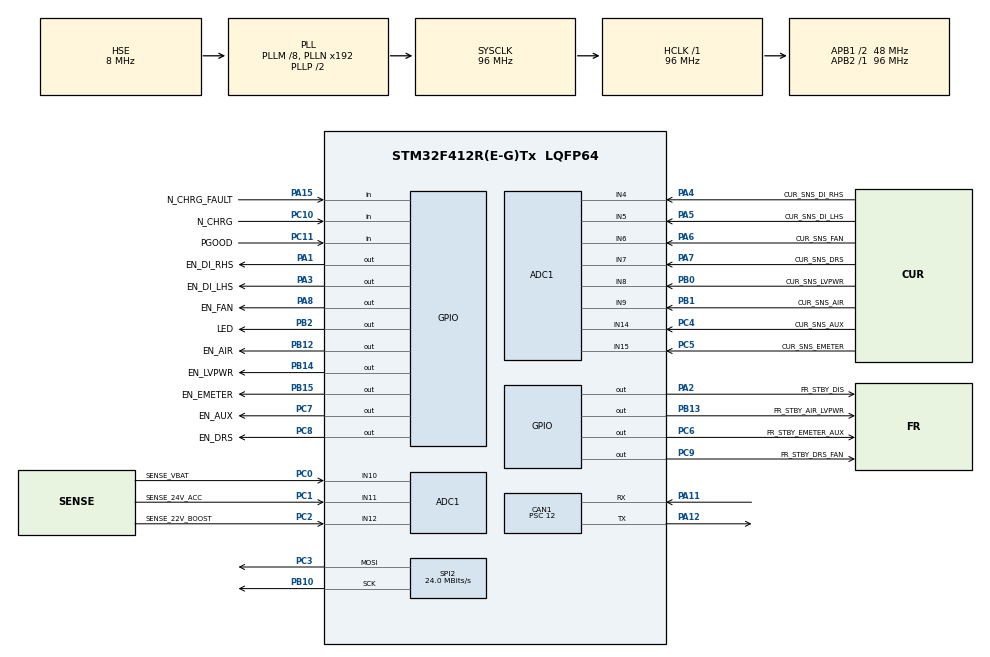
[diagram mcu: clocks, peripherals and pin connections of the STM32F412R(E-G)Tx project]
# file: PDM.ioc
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ADC1.Channel-0\#ChannelRegularConversion=ADC_CHANNEL_4
ADC1.Channel-1\#ChannelRegularConversion=ADC_CHANNEL_5
ADC1.Channel-10\#ChannelRegularConversion=ADC_CHANNEL_15
ADC1.Channel-2\#ChannelRegularConversion=ADC_CHANNEL_6
ADC1.Channel-3\#ChannelRegularConversion=ADC_CHANNEL_7
ADC1.Channel-4\#ChannelRegularConversion=ADC_CHANNEL_8
ADC1.Channel-5\#ChannelRegularConversion=ADC_CHANNEL_9
ADC1.Channel-6\#ChannelRegularConversion=ADC_CHANNEL_10
ADC1.Channel-7\#ChannelRegularConversion=ADC_CHANNEL_11
ADC1.Channel-8\#ChannelRegularConversion=ADC_CHANNEL_12
ADC1.Channel-9\#ChannelRegularConversion=ADC_CHANNEL_14
ADC1.DMAContinuousRequests=ENABLE
ADC1.ExternalTrigConv=ADC_EXTERNALTRIGCONV_T3_TRGO
ADC1.NbrOfConversion=11
ADC1.NbrOfConversionFlag=1
ADC1.Rank-0\#ChannelRegularConversion=1
ADC1.Rank-1\#ChannelRegularConversion=2
ADC1.Rank-10\#ChannelRegularConversion=11
ADC1.Rank-2\#ChannelRegularConversion=3
ADC1.Rank-3\#ChannelRegularConversion=4
ADC1.Rank-4\#ChannelRegularConversion=5
ADC1.Rank-5\#ChannelRegularConversion=6
ADC1.Rank-6\#ChannelRegularConversion=7
ADC1.Rank-7\#ChannelRegularConversion=8
ADC1.Rank-8\#ChannelRegularConversion=9
ADC1.Rank-9\#ChannelRegularConversion=10
ADC1.SamplingTime-0\#ChannelRegularConversion=ADC_SAMPLETIME_3CYCLES
ADC1.SamplingTime-1\#ChannelRegularConversion=ADC_SAMPLETIME_3CYCLES
ADC1.SamplingTime-10\#ChannelRegularConversion=ADC_SAMPLETIME_3CYCLES
ADC1.SamplingTime-2\#ChannelRegularConversion=ADC_SAMPLETIME_3CYCLES
ADC1.SamplingTime-3\#ChannelRegularConversion=ADC_SAMPLETIME_3CYCLES
ADC1.SamplingTime-4\#ChannelRegularConversion=ADC_SAMPLETIME_3CYCLES
ADC1.SamplingTime-5\#ChannelRegularConversion=ADC_SAMPLETIME_3CYCLES
ADC1.SamplingTime-6\#ChannelRegularConversion=ADC_SAMPLETIME_3CYCLES
ADC1.SamplingTime-7\#ChannelRegularConversion=ADC_SAMPLETIME_3CYCLES
ADC1.SamplingTime-8\#ChannelRegularConversion=ADC_SAMPLETIME_3CYCLES
ADC1.SamplingTime-9\#ChannelRegularConversion=ADC_SAMPLETIME_3CYCLES
ADC1.ScanConvMode=ENABLE
ADC1.master=1
CAN1.ABOM=ENABLE
CAN1.BS1=CAN_BS1_6TQ
CAN1.CalculateTimeQuantum=250.0
CAN1.NART=ENABLE
CAN1.Prescaler=12
CAN1.RFLM=ENABLE
CAN1.SJW=CAN_SJW_4TQ
CAN1.TXFP=ENABLE
Dma.ADC1.0.Direction=DMA_PERIPH_TO_MEMORY
Dma.ADC1.0.FIFOMode=DMA_FIFOMODE_DISABLE
Dma.ADC1.0.Instance=DMA2_Stream0
Dma.ADC1.0.MemDataAlignment=DMA_MDATAALIGN_HALFWORD
Dma.ADC1.0.MemInc=DMA_MINC_ENABLE
Dma.ADC1.0.Mode=DMA_CIRCULAR
Dma.ADC1.0.PeriphDataAlignment=DMA_PDATAALIGN_HALFWORD
Dma.ADC1.0.PeriphInc=DMA_PINC_DISABLE
Dma.ADC1.0.Priority=DMA_PRIORITY_LOW
Dma.Request0=ADC1
FREERTOS.INCLUDE_vTaskDelayUntil=1
FREERTOS.MEMORY_ALLOCATION=1
FREERTOS.Tasks01=Task100Hz,-1,512,RunTask100Hz,Default,NULL,Static,Task100HzBuffer,Task100HzControlBlock;TaskCanRx,-3,512,RunTaskCanRx,Default,NULL,Static,TaskCanRxBuffer,TaskCanRxControlBlock;TaskCanTx,-3,512,RunTaskCanTx,Default,NULL,Static,TaskCanTxBuffer,TaskCanTxControlBlock;Task1kHz,0,512,RunTask1kHz,Default,NULL,Static,Task1kHzBuffer,Task1kHzControlBlock;Task1Hz,-2,512,RunTask1Hz,Default,NULL,Static,Task1HzBuffer,Task1HzControlBlock
FREERTOS.configCHECK_FOR_STACK_OVERFLOW=2
FREERTOS.configUSE_TICK_HOOK=1
FREERTOS.configUSE_TRACE_FACILITY=1
IWDG.Reload=LSI_FREQUENCY /  IWDG_PRESCALER / IWDG_RESET_FREQUENCY
Mcu.Family=STM32F4
Mcu.Name=STM32F412R(E-G)Tx
Mcu.Package=LQFP64
Mcu.UserConstants=LSI_FREQUENCY,32000;IWDG_PRESCALER,4;IWDG_RESET_FREQUENCY,5;TIMx_FREQUENCY,96000000;TIM3_PRESCALER,96;ADC_FREQUENCY,1000
NVIC.DMA2_Stream0_IRQn=true\:5\:0\:false\:false\:true\:true\:false\:true
NVIC.PriorityGroup=NVIC_PRIORITYGROUP_4
NVIC.TIM6_IRQn=true\:0\:0\:false\:false\:true\:false\:false\:true
NVIC.TimeBase=TIM6_IRQn
NVIC.TimeBaseIP=TIM6
PA1.GPIO_Label=EN_DI_RHS
PA1.Signal=GPIO_Output
PA11.Mode=Master
PA11.Signal=CAN1_RX
PA12.Mode=Master
PA12.Signal=CAN1_TX
PA13.Mode=Trace_Asynchronous_SW
PA13.Signal=SYS_JTMS-SWDIO
PA14.Mode=Trace_Asynchronous_SW
PA14.Signal=SYS_JTCK-SWCLK
PA15.GPIO_Label=N_CHRG_FAULT
PA15.Signal=GPIO_Input
PA2.GPIO_Label=FR_STBY_DIS
PA2.Signal=GPIO_Output
PA3.GPIO_Label=EN_DI_LHS
PA3.Signal=GPIO_Output
PA4.GPIO_Label=CUR_SNS_DI_RHS
PA4.Signal=ADCx_IN4
PA5.GPIO_Label=CUR_SNS_DI_LHS
PA5.Signal=ADCx_IN5
PA6.GPIO_Label=CUR_SNS_FAN
PA6.Signal=ADCx_IN6
PA7.GPIO_Label=CUR_SNS_DRS
PA7.Signal=ADCx_IN7
PA8.GPIO_Label=EN_FAN
PA8.Signal=GPIO_Output
PB0.GPIO_Label=CUR_SNS_LVPWR
PB0.Signal=ADCx_IN8
PB1.GPIO_Label=CUR_SNS_AIR
PB1.Signal=ADCx_IN9
PB10.Mode=TX_Only_Simplex_Unidirect_Master
PB10.Signal=SPI2_SCK
PB12.GPIO_Label=EN_AIR
PB12.Signal=GPIO_Output
PB13.GPIO_Label=FR_STBY_AIR_LVPWR
PB13.Signal=GPIO_Output
PB14.GPIO_Label=EN_LVPWR
PB14.Signal=GPIO_Output
PB15.GPIO_Label=EN_EMETER
PB15.Signal=GPIO_Output
PB2.GPIO_Label=LED
PB2.Signal=GPIO_Output
PB3.Mode=Trace_Asynchronous_SW
PB3.Signal=SYS_JTDO-SWO
PC0.GPIO_Label=SENSE_VBAT
PC0.Signal=ADCx_IN10
PC1.GPIO_Label=SENSE_24V_ACC
PC1.Signal=ADCx_IN11
PC10.GPIO_Label=N_CHRG
PC10.Signal=GPIO_Input
PC11.GPIO_Label=PGOOD
PC11.Signal=GPIO_Input
PC2.GPIO_Label=SENSE_22V_BOOST
PC2.Signal=ADCx_IN12
PC3.Mode=TX_Only_Simplex_Unidirect_Master
PC3.Signal=SPI2_MOSI
PC4.GPIO_Label=CUR_SNS_AUX
PC4.Signal=ADCx_IN14
PC5.GPIO_Label=CUR_SNS_EMETER
PC5.Signal=ADCx_IN15
PC6.GPIO_Label=FR_STBY_EMETER_AUX
PC6.Signal=GPIO_Output
PC7.GPIO_Label=EN_AUX
PC7.Signal=GPIO_Output
PC8.GPIO_Label=EN_DRS
PC8.Signal=GPIO_Output
PC9.GPIO_Label=FR_STBY_DRS_FAN
PC9.Signal=GPIO_Output
PH0\ -\ OSC_IN.Mode=HSE-External-Oscillator
PH0\ -\ OSC_IN.Signal=RCC_OSC_IN
PH1\ -\ OSC_OUT.Mode=HSE-External-Oscillator
PH1\ -\ OSC_OUT.Signal=RCC_OSC_OUT
ProjectManager.HeapSize=0x00
ProjectManager.StackSize=0x400
ProjectManager.TargetToolchain=SW4STM32
RCC.AHBFreq_Value=96000000
RCC.APB1CLKDivider=RCC_HCLK_DIV2
RCC.APB1Freq_Value=48000000
RCC.APB1TimFreq_Value=96000000
RCC.APB2Freq_Value=96000000
RCC.APB2TimFreq_Value=96000000
RCC.CortexFreq_Value=96000000
RCC.HCLKFreq_Value=96000000
RCC.HSE_VALUE=8000000
RCC.PLLM=8
RCC.PLLSourceVirtual=RCC_PLLSOURCE_HSE
RCC.SYSCLKFreq_VALUE=96000000
RCC.SYSCLKSource=RCC_SYSCLKSOURCE_PLLCLK
RCC.USBFreq_Value=96000000
RCC.VCOOutputFreq_Value=192000000
SH.ADCx_IN10.0=ADC1_IN10,IN10
SH.ADCx_IN11.0=ADC1_IN11,IN11
SH.ADCx_IN12.0=ADC1_IN12,IN12
SH.ADCx_IN14.0=ADC1_IN14,IN14
SH.ADCx_IN15.0=ADC1_IN15,IN15
SH.ADCx_IN4.0=ADC1_IN4,IN4
SH.ADCx_IN5.0=ADC1_IN5,IN5
SH.ADCx_IN6.0=ADC1_IN6,IN6
SH.ADCx_IN7.0=ADC1_IN7,IN7
SH.ADCx_IN8.0=ADC1_IN8,IN8
SH.ADCx_IN9.0=ADC1_IN9,IN9
SPI2.CalculateBaudRate=24.0 MBits/s
SPI2.Direction=SPI_DIRECTION_2LINES
SPI2.Mode=SPI_MODE_MASTER
SPI2.VirtualType=VM_MASTER
TIM3.Period=(TIMx_FREQUENCY / TIM3_PRESCALER / ADC_FREQUENCY) - 1
TIM3.Prescaler=TIM3_PRESCALER - 1 
TIM3.TIM_MasterOutputTrigger=TIM_TRGO_UPDATE
VP_FREERTOS_VS_CMSIS_V1.Mode=CMSIS_V1
VP_IWDG_VS_IWDG.Mode=IWDG_Activate
VP_SYS_VS_tim6.Mode=TIM6
VP_TIM3_VS_ClockSourceINT.Mode=Internal
board=custom

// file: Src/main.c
/* USER CODE BEGIN Header */
/**
 ******************************************************************************
 * @file           : main.c
 * @brief          : Main program body
 ******************************************************************************
 * @attention
 *
 * <h2><center>&copy; Copyright (c) 2020 STMicroelectronics.
 * All rights reserved.</center></h2>
 *
 * This software component is licensed by ST under Ultimate Liberty license
 * SLA0044, the "License"; You may not use this file except in compliance with
 * the License. You may obtain a copy of the License at:
 *                             www.st.com/SLA0044
 *
 ******************************************************************************
 */
/* USER CODE END Header */

#include "main.h"
#include "cmsis_os.h"

/* USER CODE BEGIN Includes */
#include <assert.h>

#include "Io_CanTx.h"
#include "Io_CanRx.h"
#include "Io_SharedSoftwareWatchdog.h"
#include "Io_SharedCan.h"
#include "Io_SharedHardFaultHandler.h"
#include "Io_StackWaterMark.h"
#include "Io_SoftwareWatchdog.h"
#include "Io_VoltageSense.h"
#include "Io_CurrentSense.h"
#include "Io_SharedHeartbeatMonitor.h"
#include "Io_RgbLedSequence.h"
#include "Io_LT3650.h"
#include "Io_LTC3786.h"
#include "Io_Adc.h"
#include "Io_Efuse.h"

#include "App_CanAlerts.h"
#include "App_PdmWorld.h"
#include "App_SharedMacros.h"
#include "App_SharedConstants.h"
#include "App_SharedStateMachine.h"
#include "states/App_InitState.h"
#include "configs/App_CurrentLimits.h"
#include "configs/App_VoltageLimits.h"
#include "configs/App_HeartbeatMonitorConfig.h"
/* USER CODE END Includes */

ADC_HandleTypeDef hadc1;
DMA_HandleTypeDef hdma_adc1;

CAN_HandleTypeDef hcan1;

IWDG_HandleTypeDef hiwdg;

SPI_HandleTypeDef hspi2;

TIM_HandleTypeDef htim3;

osThreadId          Task100HzHandle;
uint32_t            Task100HzBuffer[512];
osStaticThreadDef_t Task100HzControlBlock;
osThreadId          TaskCanRxHandle;
uint32_t            TaskCanRxBuffer[512];
osStaticThreadDef_t TaskCanRxControlBlock;
osThreadId          TaskCanTxHandle;
uint32_t            TaskCanTxBuffer[512];
osStaticThreadDef_t TaskCanTxControlBlock;
osThreadId          Task1kHzHandle;
uint32_t            Task1kHzBuffer[512];
osStaticThreadDef_t Task1kHzControlBlock;
osThreadId          Task1HzHandle;
uint32_t            Task1HzBuffer[512];
osStaticThreadDef_t Task1HzControlBlock;
/* USER CODE BEGIN PV */
struct PdmWorld *         world;
struct StateMachine *     state_machine;
struct InRangeCheck *     vbat_voltage_in_range_check;
struct InRangeCheck *     _24v_aux_voltage_in_range_check;
struct InRangeCheck *     _24v_acc_voltage_in_range_check;
struct InRangeCheck *     aux1_current_in_range_check;
struct InRangeCheck *     aux2_current_in_range_check;
struct InRangeCheck *     left_inverter_current_in_range_check;
struct InRangeCheck *     right_inverter_current_in_range_check;
struct InRangeCheck *     energy_meter_current_in_range_check;
struct InRangeCheck *     can_current_in_range_check;
struct InRangeCheck *     air_shutdown_current_in_range_check;
struct HeartbeatMonitor * heartbeat_monitor;
struct RgbLedSequence *   rgb_led_sequence;
struct LowVoltageBattery *low_voltage_battery;
struct Clock *            clock;
/* USER CODE END PV */

void        SystemClock_Config(void);
static void MX_GPIO_Init(void);
static void MX_DMA_Init(void);
static void MX_ADC1_Init(void);
static void MX_CAN1_Init(void);
static void MX_IWDG_Init(void);
static void MX_SPI2_Init(void);
static void MX_TIM3_Init(void);
void        RunTask100Hz(void const *argument);
void        RunTaskCanRx(void const *argument);
void        RunTaskCanTx(void const *argument);
void        RunTask1kHz(void const *argument);
void        RunTask1Hz(void const *argument);

/* USER CODE BEGIN PFP */

static void CanRxQueueOverflowCallBack(size_t overflow_count);
static void CanTxQueueOverflowCallBack(size_t overflow_count);

/* USER CODE END PFP */

/* USER CODE BEGIN 0 */

static void CanRxQueueOverflowCallBack(size_t overflow_count)
{
    App_CanTx_PDM_Warnings_RxOverflowCount_Set(overflow_count);
}

static void CanTxQueueOverflowCallBack(size_t overflow_count)
{
    App_CanTx_PDM_Warnings_TxOverflowCount_Set(overflow_count);
}

/* USER CODE END 0 */

int main(void)
{

    /* MCU Configuration--------------------------------------------------------*/

    /* Reset of all peripherals, Initializes the Flash interface and the Systick. */
    HAL_Init();

    /* Configure the system clock */
    SystemClock_Config();

    /* USER CODE BEGIN SysInit */
    HAL_Delay(500U);
    /* USER CODE END SysInit */

    /* Initialize all configured peripherals */
    MX_GPIO_Init();
    MX_DMA_Init();
    MX_ADC1_Init();
    MX_CAN1_Init();
    MX_IWDG_Init();
    MX_SPI2_Init();
    MX_TIM3_Init();
    /* USER CODE BEGIN 2 */
    __HAL_DBGMCU_FREEZE_IWDG();

    HAL_ADC_Start_DMA(&hadc1, (uint32_t *)Io_Adc_GetRawAdcValues(), hadc1.Init.NbrOfConversion);
    HAL_TIM_Base_Start(&htim3);

    Io_SharedHardFaultHandler_Init();
    Io_SharedSoftwareWatchdog_Init(Io_HardwareWatchdog_Refresh, Io_SoftwareWatchdog_TimeoutCallback);
    Io_SharedCan_Init(&hcan1, CanTxQueueOverflowCallBack, CanRxQueueOverflowCallBack);

    App_CanTx_Init();
    App_CanRx_Init();
    App_CanAlerts_Init(Io_CanTx_PDM_Alerts_SendAperiodic);

    vbat_voltage_in_range_check =
        App_InRangeCheck_Create(Io_VoltageSense_GetVbatVoltage, VBAT_MIN_VOLTAGE, VBAT_MAX_VOLTAGE);

    _24v_aux_voltage_in_range_check =
        App_InRangeCheck_Create(Io_VoltageSense_Get24vAuxVoltage, _24V_AUX_MIN_VOLTAGE, _24V_AUX_MAX_VOLTAGE);

    _24v_acc_voltage_in_range_check =
        App_InRangeCheck_Create(Io_VoltageSense_Get24vAccVoltage, _24V_ACC_MIN_VOLTAGE, _24V_ACC_MAX_VOLTAGE);

    aux1_current_in_range_check =
        App_InRangeCheck_Create(Io_CurrentSense_GetAux1Current, AUX1_MIN_CURRENT, AUX1_MAX_CURRENT);

    aux2_current_in_range_check =
        App_InRangeCheck_Create(Io_CurrentSense_GetAux1Current, AUX2_MIN_CURRENT, AUX2_MAX_CURRENT);

    left_inverter_current_in_range_check = App_InRangeCheck_Create(
        Io_CurrentSense_GetLeftInverterCurrent, LEFT_INVERTER_MIN_CURRENT, LEFT_INVERTER_MAX_CURRENT);

    right_inverter_current_in_range_check = App_InRangeCheck_Create(
        Io_CurrentSense_GetRightInverterCurrent, RIGHT_INVERTER_MIN_CURRENT, RIGHT_INVERTER_MAX_CURRENT);

    energy_meter_current_in_range_check = App_InRangeCheck_Create(
        Io_CurrentSense_GetEnergyMeterCurrent, ENERGY_METER_MIN_CURRENT, ENERGY_METER_MAX_CURRENT);

    can_current_in_range_check =
        App_InRangeCheck_Create(Io_CurrentSense_GetCanCurrent, CAN_MIN_CURRENT, CAN_MAX_CURRENT);

    air_shutdown_current_in_range_check = App_InRangeCheck_Create(
        Io_CurrentSense_GetAirShutdownCurrent, AIR_SHUTDOWN_MIN_CURRENT, AIR_SHUTDOWN_MAX_CURRENT);

    heartbeat_monitor = App_SharedHeartbeatMonitor_Create(
        Io_SharedHeartbeatMonitor_GetCurrentMs, HEARTBEAT_MONITOR_TIMEOUT_PERIOD_MS, HEARTBEAT_MONITOR_BOARDS_TO_CHECK);

    rgb_led_sequence = App_SharedRgbLedSequence_Create(
        Io_RgbLedSequence_TurnOnRedLed, Io_RgbLedSequence_TurnOnBlueLed, Io_RgbLedSequence_TurnOnGreenLed);

    low_voltage_battery = App_LowVoltageBattery_Create(Io_LT3650_HasFault, Io_LTC3786_HasFault);

    clock = App_SharedClock_Create();

    world = App_PdmWorld_Create(
        vbat_voltage_in_range_check, _24v_aux_voltage_in_range_check, _24v_acc_voltage_in_range_check,
        aux1_current_in_range_check, aux2_current_in_range_check, left_inverter_current_in_range_check,
        right_inverter_current_in_range_check, energy_meter_current_in_range_check, can_current_in_range_check,
        air_shutdown_current_in_range_check, heartbeat_monitor, rgb_led_sequence, low_voltage_battery, clock);

    state_machine = App_SharedStateMachine_Create(world, App_GetInitState());

    App_CanAlerts_SetAlert(PDM_ALERT_STARTUP, true);

    /* USER CODE END 2 */

    /* Create the thread(s) */
    /* definition and creation of Task100Hz */
    osThreadStaticDef(Task100Hz, RunTask100Hz, osPriorityBelowNormal, 0, 512, Task100HzBuffer, &Task100HzControlBlock);
    Task100HzHandle = osThreadCreate(osThread(Task100Hz), NULL);

    /* definition and creation of TaskCanRx */
    osThreadStaticDef(TaskCanRx, RunTaskCanRx, osPriorityIdle, 0, 512, TaskCanRxBuffer, &TaskCanRxControlBlock);
    TaskCanRxHandle = osThreadCreate(osThread(TaskCanRx), NULL);

    /* definition and creation of TaskCanTx */
    osThreadStaticDef(TaskCanTx, RunTaskCanTx, osPriorityIdle, 0, 512, TaskCanTxBuffer, &TaskCanTxControlBlock);
    TaskCanTxHandle = osThreadCreate(osThread(TaskCanTx), NULL);

    /* definition and creation of Task1kHz */
    osThreadStaticDef(Task1kHz, RunTask1kHz, osPriorityNormal, 0, 512, Task1kHzBuffer, &Task1kHzControlBlock);
    Task1kHzHandle = osThreadCreate(osThread(Task1kHz), NULL);

    /* definition and creation of Task1Hz */
    osThreadStaticDef(Task1Hz, RunTask1Hz, osPriorityLow, 0, 512, Task1HzBuffer, &Task1HzControlBlock);
    Task1HzHandle = osThreadCreate(osThread(Task1Hz), NULL);

    /* USER CODE BEGIN RTOS_THREADS */
    /* add threads, ... */
    // According to Percpio documentation, vTraceEnable() should be the last
    // function call before the scheduler starts.
#if (configUSE_TRACE_FACILITY == 1)
    vTraceEnable(TRC_INIT);
#endif
    /* USER CODE END RTOS_THREADS */

    /* Start scheduler */
    osKernelStart();

    /* We should never get here as control is now taken by the scheduler */

    /* Infinite loop */
    while (1)
    {

    }
}

void SystemClock_Config(void)
{
    RCC_OscInitTypeDef RCC_OscInitStruct = { 0 };
    RCC_ClkInitTypeDef RCC_ClkInitStruct = { 0 };

    /** Configure the main internal regulator output voltage
     */
    __HAL_RCC_PWR_CLK_ENABLE();
    __HAL_PWR_VOLTAGESCALING_CONFIG(PWR_REGULATOR_VOLTAGE_SCALE1);
    /** Initializes the CPU, AHB and APB busses clocks
     */
    RCC_OscInitStruct.OscillatorType = RCC_OSCILLATORTYPE_LSI | RCC_OSCILLATORTYPE_HSE;
    RCC_OscInitStruct.HSEState       = RCC_HSE_ON;
    RCC_OscInitStruct.LSIState       = RCC_LSI_ON;
    RCC_OscInitStruct.PLL.PLLState   = RCC_PLL_ON;
    RCC_OscInitStruct.PLL.PLLSource  = RCC_PLLSOURCE_HSE;
    RCC_OscInitStruct.PLL.PLLM       = 8;
    RCC_OscInitStruct.PLL.PLLN       = 192;
    RCC_OscInitStruct.PLL.PLLP       = RCC_PLLP_DIV2;
    RCC_OscInitStruct.PLL.PLLQ       = 2;
    RCC_OscInitStruct.PLL.PLLR       = 2;
    if (HAL_RCC_OscConfig(&RCC_OscInitStruct) != HAL_OK)
    {
        Error_Handler();
    }
    /** Initializes the CPU, AHB and APB busses clocks
     */
    RCC_ClkInitStruct.ClockType = RCC_CLOCKTYPE_HCLK | RCC_CLOCKTYPE_SYSCLK | RCC_CLOCKTYPE_PCLK1 | RCC_CLOCKTYPE_PCLK2;
    RCC_ClkInitStruct.SYSCLKSource   = RCC_SYSCLKSOURCE_PLLCLK;
    RCC_ClkInitStruct.AHBCLKDivider  = RCC_SYSCLK_DIV1;
    RCC_ClkInitStruct.APB1CLKDivider = RCC_HCLK_DIV2;
    RCC_ClkInitStruct.APB2CLKDivider = RCC_HCLK_DIV1;

    if (HAL_RCC_ClockConfig(&RCC_ClkInitStruct, FLASH_LATENCY_3) != HAL_OK)
    {
        Error_Handler();
    }
}

static void MX_ADC1_Init(void)
{

    ADC_ChannelConfTypeDef sConfig = { 0 };

    /** Configure the global features of the ADC (Clock, Resolution, Data Alignment and number of conversion)
     */
    hadc1.Instance                   = ADC1;
    hadc1.Init.ClockPrescaler        = ADC_CLOCK_SYNC_PCLK_DIV4;
    hadc1.Init.Resolution            = ADC_RESOLUTION_12B;
    hadc1.Init.ScanConvMode          = ENABLE;
    hadc1.Init.ContinuousConvMode    = DISABLE;
    hadc1.Init.DiscontinuousConvMode = DISABLE;
    hadc1.Init.ExternalTrigConvEdge  = ADC_EXTERNALTRIGCONVEDGE_RISING;
    hadc1.Init.ExternalTrigConv      = ADC_EXTERNALTRIGCONV_T3_TRGO;
    hadc1.Init.DataAlign             = ADC_DATAALIGN_RIGHT;
    hadc1.Init.NbrOfConversion       = 11;
    hadc1.Init.DMAContinuousRequests = ENABLE;
    hadc1.Init.EOCSelection          = ADC_EOC_SINGLE_CONV;
    if (HAL_ADC_Init(&hadc1) != HAL_OK)
    {
        Error_Handler();
    }
    /** Configure for the selected ADC regular channel its corresponding rank in the sequencer and its sample time.
     */
    sConfig.Channel      = ADC_CHANNEL_4;
    sConfig.Rank         = 1;
    sConfig.SamplingTime = ADC_SAMPLETIME_3CYCLES;
    if (HAL_ADC_ConfigChannel(&hadc1, &sConfig) != HAL_OK)
    {
        Error_Handler();
    }
    /** Configure for the selected ADC regular channel its corresponding rank in the sequencer and its sample time.
     */
    sConfig.Channel = ADC_CHANNEL_5;
    sConfig.Rank    = 2;
    if (HAL_ADC_ConfigChannel(&hadc1, &sConfig) != HAL_OK)
    {
        Error_Handler();
    }
    /** Configure for the selected ADC regular channel its corresponding rank in the sequencer and its sample time.
     */
    sConfig.Channel = ADC_CHANNEL_6;
    sConfig.Rank    = 3;
    if (HAL_ADC_ConfigChannel(&hadc1, &sConfig) != HAL_OK)
    {
        Error_Handler();
    }
    /** Configure for the selected ADC regular channel its corresponding rank in the sequencer and its sample time.
     */
    sConfig.Channel = ADC_CHANNEL_7;
    sConfig.Rank    = 4;
    if (HAL_ADC_ConfigChannel(&hadc1, &sConfig) != HAL_OK)
    {
        Error_Handler();
    }
    /** Configure for the selected ADC regular channel its corresponding rank in the sequencer and its sample time.
     */
    sConfig.Channel = ADC_CHANNEL_8;
    sConfig.Rank    = 5;
    if (HAL_ADC_ConfigChannel(&hadc1, &sConfig) != HAL_OK)
    {
        Error_Handler();
    }
    /** Configure for the selected ADC regular channel its corresponding rank in the sequencer and its sample time.
     */
    sConfig.Channel = ADC_CHANNEL_9;
    sConfig.Rank    = 6;
    if (HAL_ADC_ConfigChannel(&hadc1, &sConfig) != HAL_OK)
    {
        Error_Handler();
    }
    /** Configure for the selected ADC regular channel its corresponding rank in the sequencer and its sample time.
     */
    sConfig.Channel = ADC_CHANNEL_10;
    sConfig.Rank    = 7;
    if (HAL_ADC_ConfigChannel(&hadc1, &sConfig) != HAL_OK)
    {
        Error_Handler();
    }
    /** Configure for the selected ADC regular channel its corresponding rank in the sequencer and its sample time.
     */
    sConfig.Channel = ADC_CHANNEL_11;
    sConfig.Rank    = 8;
    if (HAL_ADC_ConfigChannel(&hadc1, &sConfig) != HAL_OK)
    {
        Error_Handler();
    }
    /** Configure for the selected ADC regular channel its corresponding rank in the sequencer and its sample time.
     */
    sConfig.Channel = ADC_CHANNEL_12;
    sConfig.Rank    = 9;
    if (HAL_ADC_ConfigChannel(&hadc1, &sConfig) != HAL_OK)
    {
        Error_Handler();
    }
    /** Configure for the selected ADC regular channel its corresponding rank in the sequencer and its sample time.
     */
    sConfig.Channel = ADC_CHANNEL_14;
    sConfig.Rank    = 10;
    if (HAL_ADC_ConfigChannel(&hadc1, &sConfig) != HAL_OK)
    {
        Error_Handler();
    }
    /** Configure for the selected ADC regular channel its corresponding rank in the sequencer and its sample time.
     */
    sConfig.Channel = ADC_CHANNEL_15;
    sConfig.Rank    = 11;
    if (HAL_ADC_ConfigChannel(&hadc1, &sConfig) != HAL_OK)
    {
        Error_Handler();
    }
}

static void MX_CAN1_Init(void)
{

    hcan1.Instance                  = CAN1;
    hcan1.Init.Prescaler            = 12;
    hcan1.Init.Mode                 = CAN_MODE_NORMAL;
    hcan1.Init.SyncJumpWidth        = CAN_SJW_4TQ;
    hcan1.Init.TimeSeg1             = CAN_BS1_6TQ;
    hcan1.Init.TimeSeg2             = CAN_BS2_1TQ;
    hcan1.Init.TimeTriggeredMode    = DISABLE;
    hcan1.Init.AutoBusOff           = ENABLE;
    hcan1.Init.AutoWakeUp           = DISABLE;
    hcan1.Init.AutoRetransmission   = ENABLE;
    hcan1.Init.ReceiveFifoLocked    = ENABLE;
    hcan1.Init.TransmitFifoPriority = ENABLE;
    if (HAL_CAN_Init(&hcan1) != HAL_OK)
    {
        Error_Handler();
    }
}

static void MX_IWDG_Init(void)
{

    hiwdg.Instance       = IWDG;
    hiwdg.Init.Prescaler = IWDG_PRESCALER_4;
    hiwdg.Init.Reload    = LSI_FREQUENCY / IWDG_PRESCALER / IWDG_RESET_FREQUENCY;
    if (HAL_IWDG_Init(&hiwdg) != HAL_OK)
    {
        Error_Handler();
    }
}

static void MX_SPI2_Init(void)
{

    /* SPI2 parameter configuration*/
    hspi2.Instance               = SPI2;
    hspi2.Init.Mode              = SPI_MODE_MASTER;
    hspi2.Init.Direction         = SPI_DIRECTION_2LINES;
    hspi2.Init.DataSize          = SPI_DATASIZE_8BIT;
    hspi2.Init.CLKPolarity       = SPI_POLARITY_LOW;
    hspi2.Init.CLKPhase          = SPI_PHASE_1EDGE;
    hspi2.Init.NSS               = SPI_NSS_SOFT;
    hspi2.Init.BaudRatePrescaler = SPI_BAUDRATEPRESCALER_2;
    hspi2.Init.FirstBit          = SPI_FIRSTBIT_MSB;
    hspi2.Init.TIMode            = SPI_TIMODE_DISABLE;
    hspi2.Init.CRCCalculation    = SPI_CRCCALCULATION_DISABLE;
    hspi2.Init.CRCPolynomial     = 10;
    if (HAL_SPI_Init(&hspi2) != HAL_OK)
    {
        Error_Handler();
    }
}

static void MX_TIM3_Init(void)
{

    TIM_ClockConfigTypeDef  sClockSourceConfig = { 0 };
    TIM_MasterConfigTypeDef sMasterConfig      = { 0 };

    htim3.Instance               = TIM3;
    htim3.Init.Prescaler         = TIM3_PRESCALER - 1;
    htim3.Init.CounterMode       = TIM_COUNTERMODE_UP;
    htim3.Init.Period            = (TIMx_FREQUENCY / TIM3_PRESCALER / ADC_FREQUENCY) - 1;
    htim3.Init.ClockDivision     = TIM_CLOCKDIVISION_DIV1;
    htim3.Init.AutoReloadPreload = TIM_AUTORELOAD_PRELOAD_DISABLE;
    if (HAL_TIM_Base_Init(&htim3) != HAL_OK)
    {
        Error_Handler();
    }
    sClockSourceConfig.ClockSource = TIM_CLOCKSOURCE_INTERNAL;
    if (HAL_TIM_ConfigClockSource(&htim3, &sClockSourceConfig) != HAL_OK)
    {
        Error_Handler();
    }
    sMasterConfig.MasterOutputTrigger = TIM_TRGO_UPDATE;
    sMasterConfig.MasterSlaveMode     = TIM_MASTERSLAVEMODE_DISABLE;
    if (HAL_TIMEx_MasterConfigSynchronization(&htim3, &sMasterConfig) != HAL_OK)
    {
        Error_Handler();
    }
}

static void MX_DMA_Init(void)
{
    /* DMA controller clock enable */
    __HAL_RCC_DMA2_CLK_ENABLE();

    /* DMA interrupt init */
    /* DMA2_Stream0_IRQn interrupt configuration */
    HAL_NVIC_SetPriority(DMA2_Stream0_IRQn, 5, 0);
    HAL_NVIC_EnableIRQ(DMA2_Stream0_IRQn);
}

static void MX_GPIO_Init(void)
{
    GPIO_InitTypeDef GPIO_InitStruct = { 0 };

    /* GPIO Ports Clock Enable */
    __HAL_RCC_GPIOH_CLK_ENABLE();
    __HAL_RCC_GPIOC_CLK_ENABLE();
    __HAL_RCC_GPIOA_CLK_ENABLE();
    __HAL_RCC_GPIOB_CLK_ENABLE();

    /*Configure GPIO pin Output Level */
    HAL_GPIO_WritePin(GPIOA, EN_DI_RHS_Pin | FR_STBY_DIS_Pin | EN_DI_LHS_Pin | EN_FAN_Pin, GPIO_PIN_RESET);

    /*Configure GPIO pin Output Level */
    HAL_GPIO_WritePin(
        GPIOB, LED_Pin | EN_AIR_Pin | FR_STBY_AIR_LVPWR_Pin | EN_LVPWR_Pin | EN_EMETER_Pin, GPIO_PIN_RESET);

    /*Configure GPIO pin Output Level */
    HAL_GPIO_WritePin(GPIOC, FR_STBY_EMETER_AUX_Pin | EN_AUX_Pin | EN_DRS_Pin | FR_STBY_DRS_FAN_Pin, GPIO_PIN_RESET);

    /*Configure GPIO pins : EN_DI_RHS_Pin FR_STBY_DIS_Pin EN_DI_LHS_Pin EN_FAN_Pin */
    GPIO_InitStruct.Pin   = EN_DI_RHS_Pin | FR_STBY_DIS_Pin | EN_DI_LHS_Pin | EN_FAN_Pin;
    GPIO_InitStruct.Mode  = GPIO_MODE_OUTPUT_PP;
    GPIO_InitStruct.Pull  = GPIO_NOPULL;
    GPIO_InitStruct.Speed = GPIO_SPEED_FREQ_LOW;
    HAL_GPIO_Init(GPIOA, &GPIO_InitStruct);

    /*Configure GPIO pins : LED_Pin EN_AIR_Pin FR_STBY_AIR_LVPWR_Pin EN_LVPWR_Pin
                             EN_EMETER_Pin */
    GPIO_InitStruct.Pin   = LED_Pin | EN_AIR_Pin | FR_STBY_AIR_LVPWR_Pin | EN_LVPWR_Pin | EN_EMETER_Pin;
    GPIO_InitStruct.Mode  = GPIO_MODE_OUTPUT_PP;
    GPIO_InitStruct.Pull  = GPIO_NOPULL;
    GPIO_InitStruct.Speed = GPIO_SPEED_FREQ_LOW;
    HAL_GPIO_Init(GPIOB, &GPIO_InitStruct);

    /*Configure GPIO pins : FR_STBY_EMETER_AUX_Pin EN_AUX_Pin EN_DRS_Pin FR_STBY_DRS_FAN_Pin */
    GPIO_InitStruct.Pin   = FR_STBY_EMETER_AUX_Pin | EN_AUX_Pin | EN_DRS_Pin | FR_STBY_DRS_FAN_Pin;
    GPIO_InitStruct.Mode  = GPIO_MODE_OUTPUT_PP;
    GPIO_InitStruct.Pull  = GPIO_NOPULL;
    GPIO_InitStruct.Speed = GPIO_SPEED_FREQ_LOW;
    HAL_GPIO_Init(GPIOC, &GPIO_InitStruct);

    /*Configure GPIO pin : N_CHRG_FAULT_Pin */
    GPIO_InitStruct.Pin  = N_CHRG_FAULT_Pin;
    GPIO_InitStruct.Mode = GPIO_MODE_INPUT;
    GPIO_InitStruct.Pull = GPIO_NOPULL;
    HAL_GPIO_Init(N_CHRG_FAULT_GPIO_Port, &GPIO_InitStruct);

    /*Configure GPIO pins : N_CHRG_Pin PGOOD_Pin */
    GPIO_InitStruct.Pin  = N_CHRG_Pin | PGOOD_Pin;
    GPIO_InitStruct.Mode = GPIO_MODE_INPUT;
    GPIO_InitStruct.Pull = GPIO_NOPULL;
    HAL_GPIO_Init(GPIOC, &GPIO_InitStruct);
}

void RunTask100Hz(void const *argument)
{
    /* USER CODE BEGIN 5 */
    UNUSED(argument);
    uint32_t                 PreviousWakeTime = osKernelSysTick();
    static const TickType_t  period_ms        = 10U;
    SoftwareWatchdogHandle_t watchdog         = Io_SharedSoftwareWatchdog_AllocateWatchdog();
    Io_SharedSoftwareWatchdog_InitWatchdog(watchdog, RTOS_TASK_100HZ, period_ms);

    /* Infinite loop */
    for (;;)
    {
        App_SharedStateMachine_Tick100Hz(state_machine);
        Io_CanTx_Enqueue100HzMsgs();

        // Watchdog check-in must be the last function called before putting the
        // task to sleep.
        Io_SharedSoftwareWatchdog_CheckInWatchdog(watchdog);
        osDelayUntil(&PreviousWakeTime, period_ms);
    }
    /* USER CODE END 5 */
}

void RunTaskCanRx(void const *argument)
{
    /* USER CODE BEGIN RunTaskCanRx */
    UNUSED(argument);

    for (;;)
    {
        struct CanMsg message;
        Io_SharedCan_DequeueCanRxMessage(&message);
        Io_CanRx_UpdateRxTableWithMessage(&message);
    }
    /* USER CODE END RunTaskCanRx */
}

void RunTaskCanTx(void const *argument)
{
    /* USER CODE BEGIN RunTaskCanTx */
    UNUSED(argument);

    for (;;)
    {
        Io_SharedCan_TransmitEnqueuedCanTxMessagesFromTask();
    }
    /* USER CODE END RunTaskCanTx */
}

void RunTask1kHz(void const *argument)
{
    /* USER CODE BEGIN RunTask1kHz */
    UNUSED(argument);
    uint32_t                 PreviousWakeTime = osKernelSysTick();
    static const TickType_t  period_ms        = 1U;
    SoftwareWatchdogHandle_t watchdog         = Io_SharedSoftwareWatchdog_AllocateWatchdog();
    Io_SharedSoftwareWatchdog_InitWatchdog(watchdog, RTOS_TASK_1KHZ, period_ms);

    for (;;)
    {
        Io_SharedSoftwareWatchdog_CheckForTimeouts();
        const uint32_t task_start_ms = TICK_TO_MS(osKernelSysTick());

        App_SharedClock_SetCurrentTimeInMilliseconds(clock, task_start_ms);
        Io_CanTx_EnqueueOtherPeriodicMsgs(task_start_ms);

        // Watchdog check-in must be the last function called before putting the
        // task to sleep. Prevent check in if the elapsed period is greater or
        // equal to the period ms
        if ((TICK_TO_MS(osKernelSysTick()) - task_start_ms) <= period_ms)
        {
            Io_SharedSoftwareWatchdog_CheckInWatchdog(watchdog);
        }

        osDelayUntil(&PreviousWakeTime, period_ms);
    }
    /* USER CODE END RunTask1kHz */
}

void RunTask1Hz(void const *argument)
{
    /* USER CODE BEGIN RunTask1Hz */
    UNUSED(argument);
    uint32_t                 PreviousWakeTime = osKernelSysTick();
    static const TickType_t  period_ms        = 1000U;
    SoftwareWatchdogHandle_t watchdog         = Io_SharedSoftwareWatchdog_AllocateWatchdog();
    Io_SharedSoftwareWatchdog_InitWatchdog(watchdog, RTOS_TASK_1HZ, period_ms);

    /* Infinite loop */
    for (;;)
    {
        App_SharedStateMachine_Tick1Hz(state_machine);
        Io_CanTx_Enqueue1HzMsgs();
        Io_StackWaterMark_Check();

        // Watchdog check-in must be the last function called before putting the
        // task to sleep.
        Io_SharedSoftwareWatchdog_CheckInWatchdog(watchdog);
        osDelayUntil(&PreviousWakeTime, period_ms);
    }
    /* USER CODE END RunTask1Hz */
}

void HAL_TIM_PeriodElapsedCallback(TIM_HandleTypeDef *htim)
{
    if (htim->Instance == TIM6)
    {
        HAL_IncTick();
    }
}

void Error_Handler(void)
{
    /* USER CODE BEGIN Error_Handler_Debug */
    __assert_func(__FILE__, __LINE__, "Error_Handler", "Error_Handler");
    /* USER CODE END Error_Handler_Debug */
}

#ifdef USE_FULL_ASSERT
/**
 * @brief  Reports the name of the source file and the source line number
 *         where the assert_param error has occurred.
 * @param  file: pointer to the source file name
 * @param  line: assert_param error line source number
 * @retval None
 */
void assert_failed(uint8_t *file, uint32_t line)
{
    /* USER CODE BEGIN 6 */
    __assert_func(file, line, "assert_failed", "assert_failed");
    /* USER CODE END 6 */
}
#endif /* USE_FULL_ASSERT */

/************************ (C) COPYRIGHT STMicroelectronics *****END OF FILE****/

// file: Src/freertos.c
/* USER CODE BEGIN Header */
/**
 ******************************************************************************
 * File Name          : freertos.c
 * Description        : Code for freertos applications
 ******************************************************************************
 * @attention
 *
 * <h2><center>&copy; Copyright (c) 2020 STMicroelectronics.
 * All rights reserved.</center></h2>
 *
 * This software component is licensed by ST under Ultimate Liberty license
 * SLA0044, the "License"; You may not use this file except in compliance with
 * the License. You may obtain a copy of the License at:
 *                             www.st.com/SLA0044
 *
 ******************************************************************************
 */
/* USER CODE END Header */

#include "FreeRTOS.h"
#include "task.h"
#include "main.h"

/* USER CODE BEGIN Includes */
#include "Io_SharedSoftwareWatchdog.h"
/* USER CODE END Includes */

/* GetIdleTaskMemory prototype (linked to static allocation support) */
void vApplicationGetIdleTaskMemory(
    StaticTask_t **ppxIdleTaskTCBBuffer,
    StackType_t ** ppxIdleTaskStackBuffer,
    uint32_t *     pulIdleTaskStackSize);

/* Hook prototypes */
void vApplicationTickHook(void);
void vApplicationStackOverflowHook(xTaskHandle xTask, signed char *pcTaskName);

/* USER CODE BEGIN 3 */
__weak void vApplicationTickHook(void)
{
    /* This function will be called by each tick interrupt if
    configUSE_TICK_HOOK is set to 1 in FreeRTOSConfig.h. User code can be
    added here, but the tick hook is called from an interrupt context, so
    code must not attempt to block, and only the interrupt safe FreeRTOS API
    functions can be used (those that end in FromISR()). */
}
/* USER CODE END 3 */

/* USER CODE BEGIN 4 */
__weak void vApplicationStackOverflowHook(xTaskHandle xTask, signed char *pcTaskName)
{
    /* Run time stack overflow checking is performed if
    configCHECK_FOR_STACK_OVERFLOW is defined to 1 or 2. This hook function is
    called if a stack overflow is detected. */
    UNUSED(xTask);
    UNUSED(pcTaskName);
}
/* USER CODE END 4 */

/* USER CODE BEGIN GET_IDLE_TASK_MEMORY */
static StaticTask_t xIdleTaskTCBBuffer;
static StackType_t  xIdleStack[configMINIMAL_STACK_SIZE];

void vApplicationGetIdleTaskMemory(
    StaticTask_t **ppxIdleTaskTCBBuffer,
    StackType_t ** ppxIdleTaskStackBuffer,
    uint32_t *     pulIdleTaskStackSize)
{
    *ppxIdleTaskTCBBuffer   = &xIdleTaskTCBBuffer;
    *ppxIdleTaskStackBuffer = &xIdleStack[0];
    *pulIdleTaskStackSize   = configMINIMAL_STACK_SIZE;
    /* place for user code */
}
/* USER CODE END GET_IDLE_TASK_MEMORY */

/************************ (C) COPYRIGHT STMicroelectronics *****END OF FILE****/
